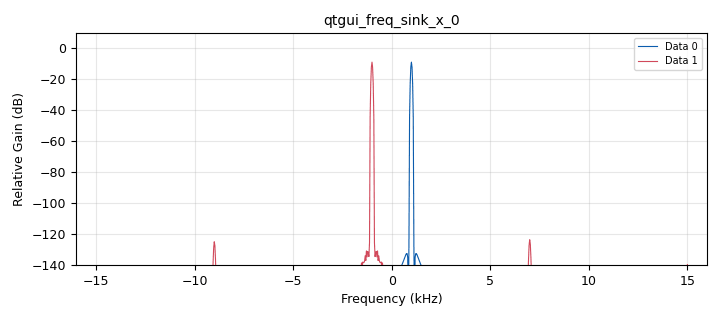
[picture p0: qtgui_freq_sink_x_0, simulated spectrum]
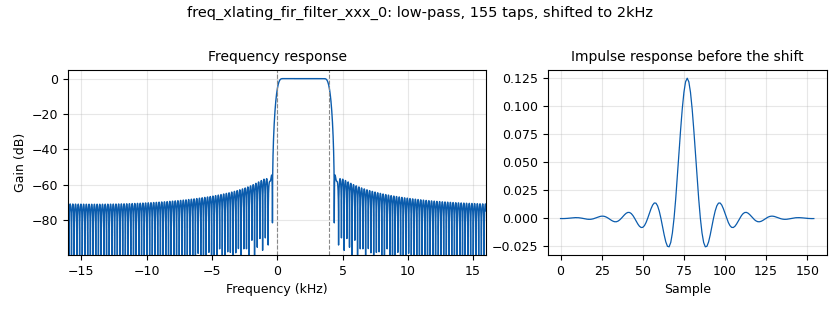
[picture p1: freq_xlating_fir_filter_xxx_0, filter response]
options:
  parameters:
    generate_options: qt_gui
    id: XlatingFIRintro_1_6
    output_language: python
    title: Xlating FIR Filter
  states: {}

blocks:
- name: mytaps
  id: variable_low_pass_filter_taps
  parameters:
    cutoff_freq: '2000'
    gain: '1.0'
    samp_rate: samp_rate
    width: samp_rate/64
    win: window.WIN_HAMMING
  states: {}
- name: samp_rate
  id: variable
  parameters:
    value: '32000'
  states: {}
- name: analog_sig_source_x_0
  id: analog_sig_source_x
  parameters:
    amp: '1'
    freq: '1000'
    offset: '0'
    phase: '0'
    samp_rate: samp_rate
    type: complex
    waveform: analog.GR_COS_WAVE
  states: {}
- name: blocks_throttle2_0
  id: blocks_throttle2
  parameters:
    samples_per_second: samp_rate
    type: complex
  states: {}
- name: freq_xlating_fir_filter_xxx_0
  id: freq_xlating_fir_filter_xxx
  parameters:
    center_freq: '2000'
    decim: '1'
    samp_rate: samp_rate
    taps: mytaps
    type: ccc
  states: {}
- name: qtgui_freq_sink_x_0
  id: qtgui_freq_sink_x
  parameters:
    average: '0.05'
    bw: samp_rate
    fc: '0'
    fftsize: '1024'
    nconnections: '2'
    type: complex
  states: {}

connections:
- [analog_sig_source_x_0, '0', blocks_throttle2_0, '0']
- [analog_sig_source_x_0, '0', freq_xlating_fir_filter_xxx_0, '0']
- [blocks_throttle2_0, '0', qtgui_freq_sink_x_0, '0']
- [freq_xlating_fir_filter_xxx_0, '0', qtgui_freq_sink_x_0, '1']

metadata:
  file_format: 1
  grc_version: 3.10.12.0
